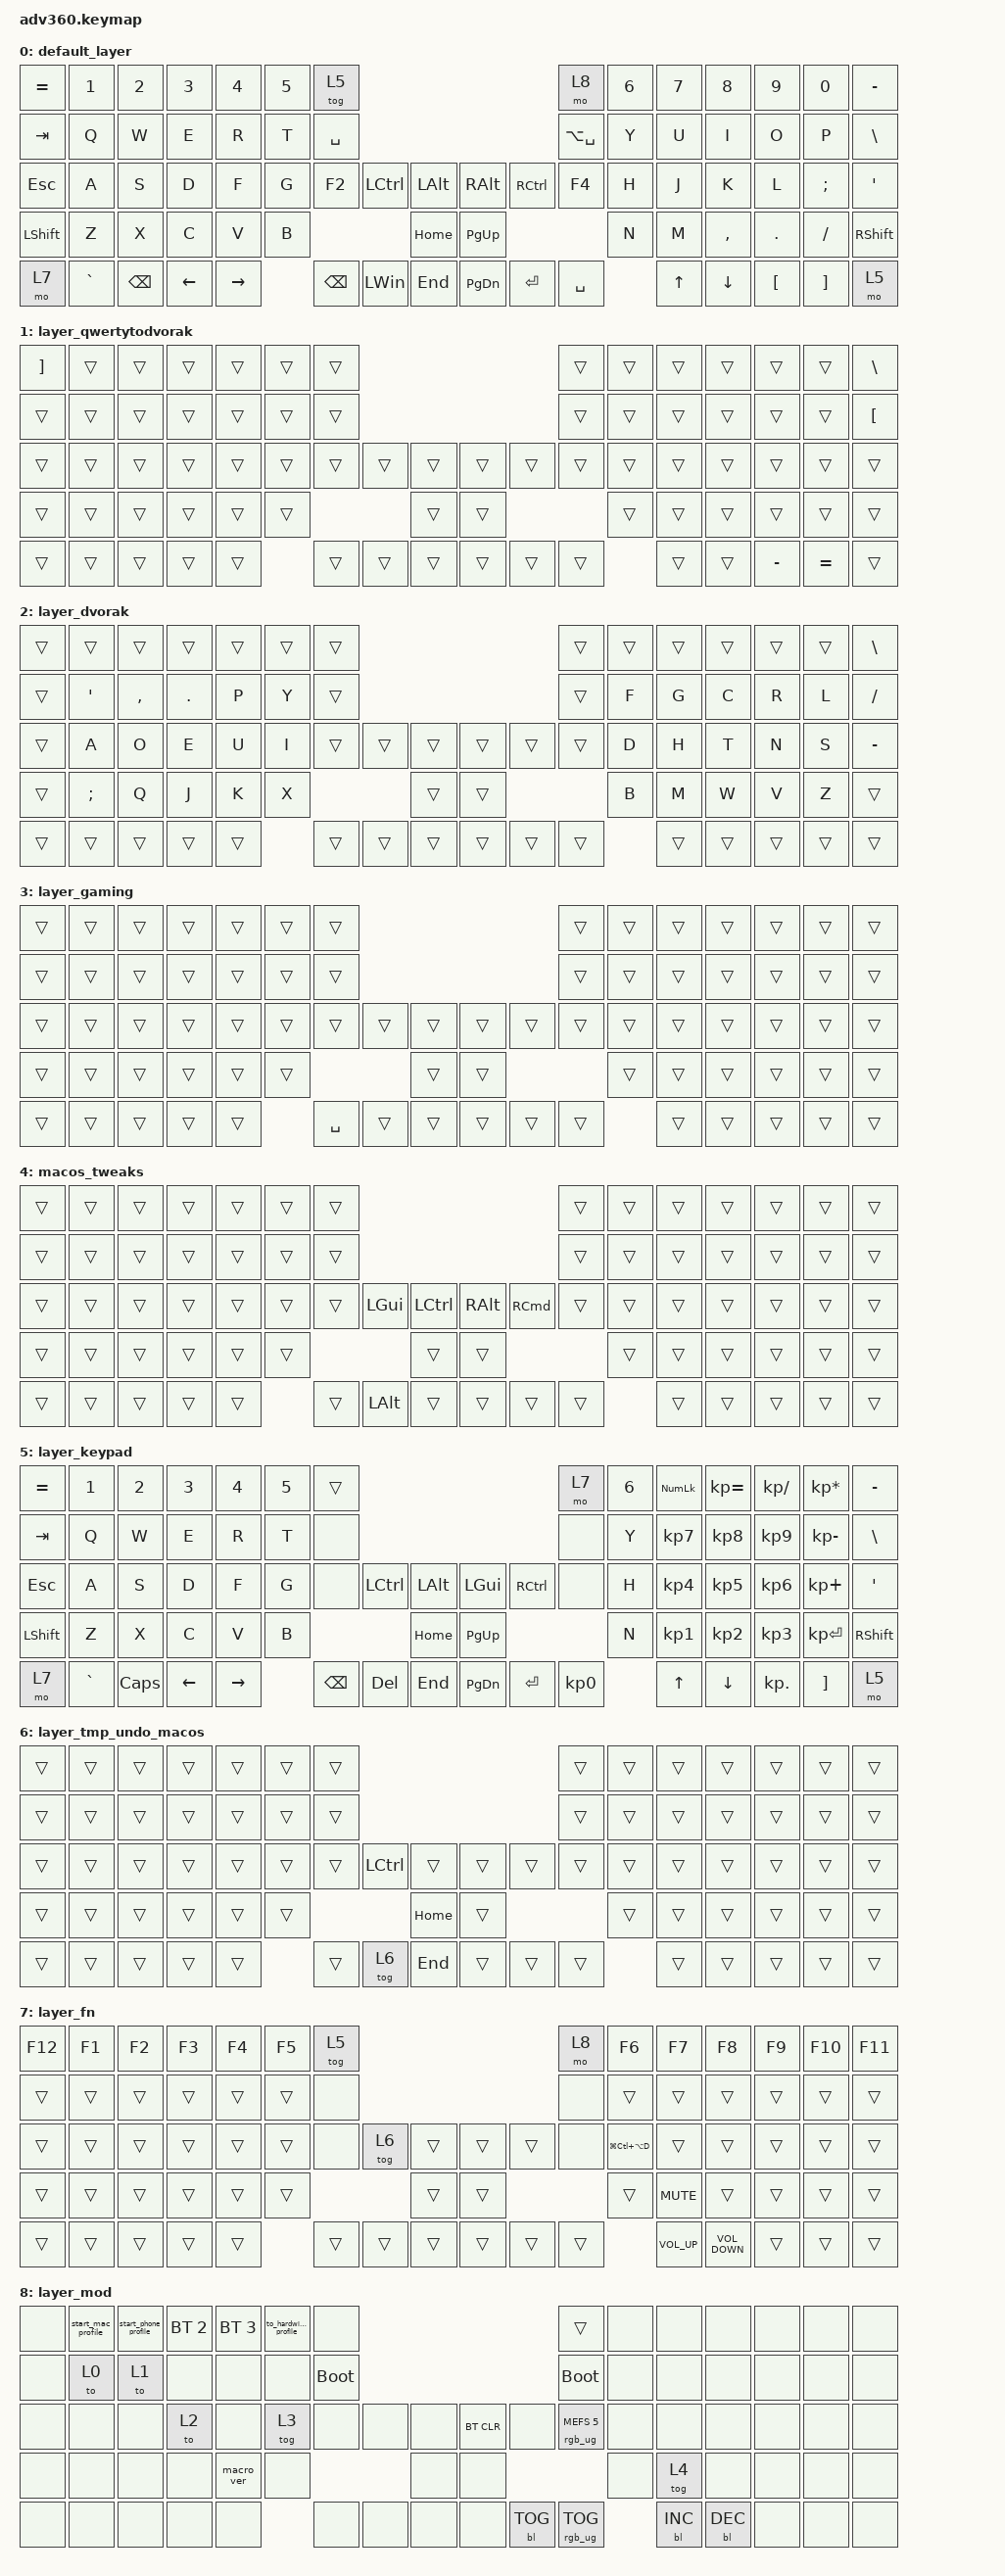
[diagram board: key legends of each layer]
/*
 * Copyright (c) 2020 The ZMK Contributors
 *
 * SPDX-License-Identifier: MIT
 */
/* THIS FILE WAS GENERATED!
 *
 * This file was generated automatically. You may or may not want to
 * edit it directly.
 */

#include <behaviors.dtsi>
#include <dt-bindings/zmk/backlight.h>
#include <dt-bindings/zmk/bt.h>
#include <dt-bindings/zmk/keys.h>
#include <dt-bindings/zmk/rgb.h>

/ {
    behaviors {
        #include "macros.dtsi"
    #include "version.dtsi"

        hm: homerow_mods {
            compatible = "zmk,behavior-hold-tap";
            label = "HOMEROW_MODS";
            #binding-cells = <2>;
            tapping-term-ms = <200>;
            quick_tap_ms = <175>;
            flavor = "tap-preferred";
            bindings = <&kp>, <&kp>;
        };
    };

    combos { compatible = "zmk,combos"; };

    macros {
        start_mac_profile: start_mac_profile {
            compatible = "zmk,behavior-macro";
            #binding-cells = <0>;
            bindings = <&bt BT_SEL 0 &to 1 &tog 4 &bt BT_DISC 1>;
            label = "START_MAC_PROFILE";
        };

        start_phone_profile: start_phone_profile {
            compatible = "zmk,behavior-macro";
            #binding-cells = <0>;
            bindings = <&bt BT_SEL 1 &to 2 &bt BT_DISC 0>;
            label = "START_PHONE_PROFILE";
        };

        to_hardwired_profile: to_hardwired_profile {
            compatible = "zmk,behavior-macro";
            #binding-cells = <0>;
            bindings = <&bt BT_SEL 4 &to 1 &tog 4 &bt BT_DISC 1 &bt BT_DISC 0>;
            label = "TO_HARDWIRED_PROFILE";
        };
    };

    keymap {
        compatible = "zmk,keymap";

        default_layer {
            bindings = <
&kp EQUAL  &kp N1     &kp N2         &kp N3    &kp N4     &kp N5  &tog 5                                                       &mo 8          &kp N6  &kp N7  &kp N8     &kp N9    &kp N0    &kp MINUS
&kp TAB    &kp Q      &kp W          &kp E     &kp R      &kp T   &kp SPACE                                                    &kp LA(SPACE)  &kp Y   &kp U   &kp I      &kp O     &kp P     &kp BACKSLASH
&kp ESC    &kp A      &kp S          &kp D     &kp F      &kp G   &kp F2     &kp LCTRL     &kp LALT      &kp RALT   &kp RCTRL  &kp F4         &kp H   &kp J   &kp K      &kp L     &kp SEMI  &kp SQT
&kp LSHFT  &kp Z      &kp X          &kp C     &kp V      &kp B                            &kp HOME      &kp PG_UP                            &kp N   &kp M   &kp COMMA  &kp DOT   &kp FSLH  &kp RSHFT
&mo 7      &kp GRAVE  &kp BACKSPACE  &kp LEFT  &kp RIGHT          &kp BSPC   &kp LEFT_WIN  &kp END       &kp PG_DN  &kp ENTER  &kp SPACE              &kp UP  &kp DOWN   &kp LBKT  &kp RBKT  &mo 5
            >;
        };

        layer_qwertytodvorak {
            bindings = <
&kp RIGHT_BRACKET  &trans  &trans  &trans  &trans  &trans  &trans                                      &trans  &trans  &trans  &trans  &trans     &trans     &kp BACKSLASH
&trans             &trans  &trans  &trans  &trans  &trans  &trans                                      &trans  &trans  &trans  &trans  &trans     &trans     &kp LEFT_BRACKET
&trans             &trans  &trans  &trans  &trans  &trans  &trans  &trans  &trans      &trans  &trans  &trans  &trans  &trans  &trans  &trans     &trans     &trans
&trans             &trans  &trans  &trans  &trans  &trans                  &trans      &trans                  &trans  &trans  &trans  &trans     &trans     &trans
&trans             &trans  &trans  &trans  &trans          &trans  &trans  &trans      &trans  &trans  &trans          &trans  &trans  &kp MINUS  &kp EQUAL  &trans
            >;
        };

        layer_dvorak {
            bindings = <
&trans  &trans          &trans     &trans      &trans  &trans  &trans                                      &trans  &trans  &trans  &trans  &trans  &trans  &kp BACKSLASH
&trans  &kp APOSTROPHE  &kp COMMA  &kp PERIOD  &kp P   &kp Y   &trans                                      &trans  &kp F   &kp G   &kp C   &kp R   &kp L   &kp SLASH
&trans  &kp A           &kp O      &kp E       &kp U   &kp I   &trans  &trans  &trans      &trans  &trans  &trans  &kp D   &kp H   &kp T   &kp N   &kp S   &kp MINUS
&trans  &kp SEMICOLON   &kp Q      &kp J       &kp K   &kp X                   &trans      &trans                  &kp B   &kp M   &kp W   &kp V   &kp Z   &trans
&trans  &trans          &trans     &trans      &trans          &trans  &trans  &trans      &trans  &trans  &trans          &trans  &trans  &trans  &trans  &trans
            >;
        };

        layer_gaming {
            bindings = <
&trans  &trans  &trans  &trans  &trans  &trans  &trans                                         &trans  &trans  &trans  &trans  &trans  &trans  &trans
&trans  &trans  &trans  &trans  &trans  &trans  &trans                                         &trans  &trans  &trans  &trans  &trans  &trans  &trans
&trans  &trans  &trans  &trans  &trans  &trans  &trans     &trans  &trans      &trans  &trans  &trans  &trans  &trans  &trans  &trans  &trans  &trans
&trans  &trans  &trans  &trans  &trans  &trans                     &trans      &trans                  &trans  &trans  &trans  &trans  &trans  &trans
&trans  &trans  &trans  &trans  &trans          &kp SPACE  &trans  &trans      &trans  &trans  &trans          &trans  &trans  &trans  &trans  &trans
            >;
        };

        macos_tweaks {
            bindings = <
&trans  &trans  &trans  &trans  &trans  &trans  &trans                                                             &trans  &trans  &trans  &trans  &trans  &trans  &trans
&trans  &trans  &trans  &trans  &trans  &trans  &trans                                                             &trans  &trans  &trans  &trans  &trans  &trans  &trans
&trans  &trans  &trans  &trans  &trans  &trans  &trans  &kp LGUI  &kp LCTRL      &kp RIGHT_ALT  &kp RIGHT_COMMAND  &trans  &trans  &trans  &trans  &trans  &trans  &trans
&trans  &trans  &trans  &trans  &trans  &trans                    &trans         &trans                                    &trans  &trans  &trans  &trans  &trans  &trans
&trans  &trans  &trans  &trans  &trans          &trans  &kp LALT  &trans         &trans         &trans             &trans          &trans  &trans  &trans  &trans  &trans
            >;
        };

        layer_keypad {
            bindings = <
&kp EQUAL  &kp N1     &kp N2    &kp N3    &kp N4     &kp N5  &trans                                                   &mo 7      &kp N6  &kp KP_NUM  &kp KP_EQUAL  &kp KP_DIVIDE  &kp KP_MULTIPLY  &kp MINUS
&kp TAB    &kp Q      &kp W     &kp E     &kp R      &kp T   &none                                                    &none      &kp Y   &kp KP_N7   &kp KP_N8     &kp KP_N9      &kp KP_MINUS     &kp BSLH
&kp ESC    &kp A      &kp S     &kp D     &kp F      &kp G   &none     &kp LCTRL  &kp LALT      &kp LGUI   &kp RCTRL  &none      &kp H   &kp KP_N4   &kp KP_N5     &kp KP_N6      &kp KP_PLUS      &kp SQT
&kp LSHFT  &kp Z      &kp X     &kp C     &kp V      &kp B                        &kp HOME      &kp PG_UP                        &kp N   &kp KP_N1   &kp KP_N2     &kp KP_N3      &kp KP_ENTER     &kp RSHFT
&mo 7      &kp GRAVE  &kp CAPS  &kp LEFT  &kp RIGHT          &kp BSPC  &kp DEL    &kp END       &kp PG_DN  &kp ENTER  &kp KP_N0          &kp UP      &kp DOWN      &kp KP_DOT     &kp RBKT         &mo 5
            >;
        };

        layer_tmp_undo_macos {
            bindings = <
&trans  &trans  &trans  &trans  &trans  &trans  &trans                                           &trans  &trans  &trans  &trans  &trans  &trans  &trans
&trans  &trans  &trans  &trans  &trans  &trans  &trans                                           &trans  &trans  &trans  &trans  &trans  &trans  &trans
&trans  &trans  &trans  &trans  &trans  &trans  &trans  &kp LCTRL  &trans        &trans  &trans  &trans  &trans  &trans  &trans  &trans  &trans  &trans
&trans  &trans  &trans  &trans  &trans  &trans                     &kp HOME      &trans                  &trans  &trans  &trans  &trans  &trans  &trans
&trans  &trans  &trans  &trans  &trans          &trans  &tog 6     &kp END       &trans  &trans  &trans          &trans  &trans  &trans  &trans  &trans
            >;
        };

        layer_fn {
            bindings = <
&kp F12  &kp F1  &kp F2  &kp F3  &kp F4  &kp F5  &tog 5                                      &mo 8   &kp F6             &kp F7           &kp F8             &kp F9  &kp F10  &kp F11
&trans   &trans  &trans  &trans  &trans  &trans  &none                                       &none   &trans             &trans           &trans             &trans  &trans   &trans
&trans   &trans  &trans  &trans  &trans  &trans  &none   &tog 6  &trans      &trans  &trans  &none   &kp LG(LC(LA(D)))  &trans           &trans             &trans  &trans   &trans
&trans   &trans  &trans  &trans  &trans  &trans                  &trans      &trans                  &trans             &kp C_MUTE       &trans             &trans  &trans   &trans
&trans   &trans  &trans  &trans  &trans          &trans  &trans  &trans      &trans  &trans  &trans                     &kp C_VOLUME_UP  &kp C_VOLUME_DOWN  &trans  &trans   &trans
            >;
        };

        layer_mod {
            bindings = <
&none  &start_mac_profile  &start_phone_profile  &bt BT_SEL 2  &bt BT_SEL 3  &to_hardwired_profile  &none                                                  &trans                  &none  &none       &none       &none  &none  &none
&none  &to 0               &to 1                 &none         &none         &none                  &bootloader                                            &bootloader             &none  &none       &none       &none  &none  &none
&none  &none               &none                 &to 2         &none         &tog 3                 &none        &none  &none      &bt BT_CLR  &none       &rgb_ug RGB_MEFS_CMD 5  &none  &none       &none       &none  &none  &none
&none  &none               &none                 &none         &macro_ver    &none                                      &none      &none                                           &none  &tog 4      &none       &none  &none  &none
&none  &none               &none                 &none         &none                                &none        &none  &none      &none       &bl BL_TOG  &rgb_ug RGB_TOG                &bl BL_INC  &bl BL_DEC  &none  &none  &none
            >;
        };
    };
};
